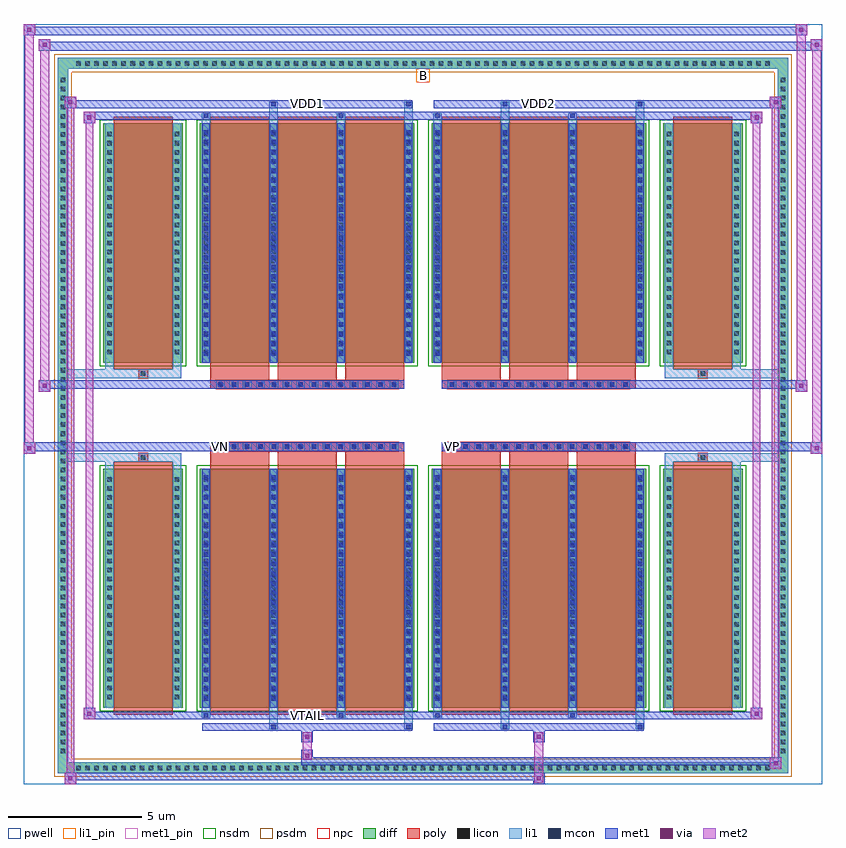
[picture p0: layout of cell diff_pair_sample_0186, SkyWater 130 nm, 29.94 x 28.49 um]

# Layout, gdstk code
import gdstk
lib = gdstk.Library(unit=1e-6, precision=5e-09)
def R(c, l, rs):  # rectangles x0, y0, x1, y1
    for r in rs: c.add(gdstk.rectangle(r[:2], r[2:], *l))
def A(c, l, x, y, w, h, nx, ny, dx, dy):  # array of equal rectangles
    R(c, l, [(x+i*dx, y+j*dy, x+i*dx+w, y+j*dy+h) for i in range(nx) for j in range(ny)])
def P(c, l, *ps):  # polygons
    for p in ps: c.add(gdstk.Polygon(p, *l))
pwell = (64, 44)
diff = (65, 20)
poly = (66, 20)
licon = (66, 44)
li1_pin = (67, 16)
li1 = (67, 20)
mcon = (67, 44)
met1_pin = (68, 16)
met1 = (68, 20)
via = (68, 44)
met2 = (69, 20)
nsdm = (93, 44)
psdm = (94, 20)
npc = (95, 20)

diff_pair_sample_0186 = lib.new_cell('diff_pair_sample_0186')
R(diff_pair_sample_0186, pwell, [(-14.97,-13.81,14.97,14.68), (-12.29,-12,-0.01,-0.8), (0.01,-12,12.29,-0.8), (-12.29,0.8,-0.01,12), (0.01,0.8,12.29,12)])
A(diff_pair_sample_0186, diff, -13.125, -13.41, 0.41, 0.41, 77, 2, 0.34, 26.41)
A(diff_pair_sample_0186, diff, -13.7, -12.785, 0.41, 0.41, 1, 75, 0, 0.34)
A(diff_pair_sample_0186, diff, 13.29, -12.785, 0.41, 0.41, 1, 75, 0, 0.34)
R(diff_pair_sample_0186, diff, [(-13.125,-13.41,13.125,-13), (-13.7,-12.785,-13.29,12.785), (13.29,-12.785,13.7,12.785), (-11.98,-10.955,-9,-1.985), (-8.36,-10.955,-0.32,-1.985), (0.32,-10.955,8.36,-1.985), (9,-10.955,11.98,-1.985), (-11.98,1.985,-9,10.955), (-8.36,1.985,-0.32,10.955), (0.32,1.985,8.36,10.955), (9,1.985,11.98,10.955), (-13.125,13,13.125,13.41)])
P(diff_pair_sample_0186, diff, [(13.7,13.41),(-13.7,13.41),(-13.7,-13),(-13.29,-13),(-13.29,13),(13.29,13),(13.29,-13),(-13.29,-13),(-13.7,-13),(-13.7,-13.41),(13.7,-13.41)])
A(diff_pair_sample_0186, poly, -7.97, -11.205, 2.2, 9.47, 3, 2, 2.53, 12.94)
A(diff_pair_sample_0186, poly, 0.71, -11.205, 2.2, 9.47, 3, 2, 2.53, 12.94)
A(diff_pair_sample_0186, poly, -7.97, -1.735, 2.2, 0.405, 3, 2, 2.53, 3.065)
A(diff_pair_sample_0186, poly, 0.71, -1.735, 2.2, 0.405, 3, 2, 2.53, 3.065)
A(diff_pair_sample_0186, poly, -7.755, -1.33, 0.33, 0.33, 14, 2, 0.5, 2.33)
A(diff_pair_sample_0186, poly, 0.925, -1.33, 0.33, 0.33, 14, 2, 0.5, 2.33)
R(diff_pair_sample_0186, poly, [(-11.59,-11.205,-9.39,-1.735), (9.39,-11.205,11.59,-1.735), (-10.655,-1.735,-10.325,-1.405), (-10.655,-1.735,-10.325,-1.405), (10.325,-1.735,10.655,-1.405), (10.325,-1.735,10.655,-1.405), (-7.97,-1.33,-0.71,-1), (0.71,-1.33,7.97,-1), (-7.97,1,-0.71,1.33), (0.71,1,7.97,1.33), (-10.655,1.405,-10.325,1.735), (-10.655,1.405,-10.325,1.735), (10.325,1.405,10.655,1.735), (10.325,1.405,10.655,1.735), (-11.59,1.735,-9.39,11.205), (9.39,1.735,11.59,11.205)])
A(diff_pair_sample_0186, licon, -13.005, -13.29, 0.17, 0.17, 77, 2, 0.34, 26.41)
A(diff_pair_sample_0186, licon, -13.58, -12.665, 0.17, 0.17, 1, 75, 0, 0.34)
A(diff_pair_sample_0186, licon, 13.41, -12.665, 0.17, 0.17, 1, 75, 0, 0.34)
A(diff_pair_sample_0186, licon, -11.84, -10.635, 0.17, 0.17, 1, 25, 0, 0.34)
A(diff_pair_sample_0186, licon, -9.31, -10.635, 0.17, 0.17, 1, 25, 0, 0.34)
A(diff_pair_sample_0186, licon, -8.22, -10.635, 0.17, 0.17, 4, 25, 2.53, 0.34)
A(diff_pair_sample_0186, licon, 0.46, -10.635, 0.17, 0.17, 4, 25, 2.53, 0.34)
A(diff_pair_sample_0186, licon, 9.14, -10.635, 0.17, 0.17, 1, 25, 0, 0.34)
A(diff_pair_sample_0186, licon, 11.67, -10.635, 0.17, 0.17, 1, 25, 0, 0.34)
A(diff_pair_sample_0186, licon, -7.675, -1.25, 0.17, 0.17, 14, 2, 0.5, 2.33)
A(diff_pair_sample_0186, licon, 1.005, -1.25, 0.17, 0.17, 14, 2, 0.5, 2.33)
A(diff_pair_sample_0186, licon, -11.84, 2.305, 0.17, 0.17, 1, 25, 0, 0.34)
A(diff_pair_sample_0186, licon, -9.31, 2.305, 0.17, 0.17, 1, 25, 0, 0.34)
A(diff_pair_sample_0186, licon, -8.22, 2.305, 0.17, 0.17, 4, 25, 2.53, 0.34)
A(diff_pair_sample_0186, licon, 0.46, 2.305, 0.17, 0.17, 4, 25, 2.53, 0.34)
A(diff_pair_sample_0186, licon, 9.14, 2.305, 0.17, 0.17, 1, 25, 0, 0.34)
A(diff_pair_sample_0186, licon, 11.67, 2.305, 0.17, 0.17, 1, 25, 0, 0.34)
R(diff_pair_sample_0186, licon, [(-10.575,-1.655,-10.405,-1.485), (10.405,-1.655,10.575,-1.485), (-10.575,1.485,-10.405,1.655), (10.405,1.485,10.575,1.655)])
R(diff_pair_sample_0186, li1_pin, [(-0.25,12.5,0.25,13)])
A(diff_pair_sample_0186, li1, -13.085, -13.37, 0.33, 0.33, 77, 2, 0.34, 26.41)
A(diff_pair_sample_0186, li1, -13.66, -12.745, 0.33, 0.33, 1, 75, 0, 0.34)
A(diff_pair_sample_0186, li1, 13.33, -12.745, 0.33, 0.33, 1, 75, 0, 0.34)
A(diff_pair_sample_0186, li1, -8.3, -10.955, 0.33, 8.97, 4, 2, 2.53, 12.94)
A(diff_pair_sample_0186, li1, 0.38, -10.955, 0.33, 8.97, 4, 2, 2.53, 12.94)
A(diff_pair_sample_0186, li1, -11.92, -10.715, 0.33, 0.33, 1, 25, 0, 0.34)
A(diff_pair_sample_0186, li1, -9.39, -10.715, 0.33, 0.33, 1, 25, 0, 0.34)
A(diff_pair_sample_0186, li1, -8.3, -10.715, 0.33, 0.33, 4, 25, 2.53, 0.34)
A(diff_pair_sample_0186, li1, 0.38, -10.715, 0.33, 0.33, 4, 25, 2.53, 0.34)
A(diff_pair_sample_0186, li1, 9.06, -10.715, 0.33, 0.33, 1, 25, 0, 0.34)
A(diff_pair_sample_0186, li1, 11.59, -10.715, 0.33, 0.33, 1, 25, 0, 0.34)
A(diff_pair_sample_0186, li1, -8.22, -10.695, 0.17, 0.17, 4, 24, 2.53, 0.36)
A(diff_pair_sample_0186, li1, -8.22, -10.695, 0.17, 8.45, 4, 2, 2.53, 12.94)
A(diff_pair_sample_0186, li1, 0.46, -10.695, 0.17, 0.17, 4, 24, 2.53, 0.36)
A(diff_pair_sample_0186, li1, 0.46, -10.695, 0.17, 8.45, 4, 2, 2.53, 12.94)
A(diff_pair_sample_0186, li1, -7.755, -1.33, 0.33, 0.33, 14, 2, 0.5, 2.33)
A(diff_pair_sample_0186, li1, 0.925, -1.33, 0.33, 0.33, 14, 2, 0.5, 2.33)
A(diff_pair_sample_0186, li1, -11.92, 2.225, 0.33, 0.33, 1, 25, 0, 0.34)
A(diff_pair_sample_0186, li1, -9.39, 2.225, 0.33, 0.33, 1, 25, 0, 0.34)
A(diff_pair_sample_0186, li1, -8.3, 2.225, 0.33, 0.33, 4, 25, 2.53, 0.34)
A(diff_pair_sample_0186, li1, 0.38, 2.225, 0.33, 0.33, 4, 25, 2.53, 0.34)
A(diff_pair_sample_0186, li1, 9.06, 2.225, 0.33, 0.33, 1, 25, 0, 0.34)
A(diff_pair_sample_0186, li1, 11.59, 2.225, 0.33, 0.33, 1, 25, 0, 0.34)
A(diff_pair_sample_0186, li1, -8.22, 2.245, 0.17, 0.17, 4, 24, 2.53, 0.36)
A(diff_pair_sample_0186, li1, 0.46, 2.245, 0.17, 0.17, 4, 24, 2.53, 0.36)
R(diff_pair_sample_0186, li1, [(-13.7,-13.41,-13.29,-13), (-13.7,-13.41,-13.29,-13), (-13.29,-13.41,13.29,-13), (13.29,-13.41,13.7,-13), (13.29,-13.41,13.7,-13), (-13.7,-13,-13.29,13), (13.29,-13,13.7,13), (-5.77,-11.76,-5.44,-10.955), (-5.69,-11.76,-5.52,-11.59), (-0.71,-11.76,-0.38,-10.955), (-0.63,-11.76,-0.46,-11.59), (2.91,-11.76,3.24,-10.955), (2.99,-11.76,3.16,-11.59), (7.97,-11.76,8.3,-10.955), (8.05,-11.76,8.22,-11.59), (-8.3,-11.33,-7.97,-10.955), (-8.22,-11.33,-8.05,-11.16), (-3.24,-11.33,-2.91,-10.955), (-3.16,-11.33,-2.99,-11.16), (0.38,-11.33,0.71,-10.955), (0.46,-11.33,0.63,-11.16), (5.44,-11.33,5.77,-10.955), (5.52,-11.33,5.69,-11.16), (-11.92,-10.955,-11.59,-1.985), (-9.39,-10.955,-9.06,-1.985), (9.06,-10.955,9.39,-1.985), (11.59,-10.955,11.92,-1.985), (-11.92,-1.985,-11.59,-1.405), (-9.39,-1.985,-9.06,-1.405), (9.06,-1.985,9.39,-1.405), (11.59,-1.985,11.92,-1.405), (-13.7,-1.735,-10.655,-1.405), (-11.92,-1.735,-10.655,-1.405), (-10.655,-1.735,-10.325,-1.405), (-10.325,-1.735,-9.06,-1.405), (9.06,-1.735,10.325,-1.405), (10.325,-1.735,10.655,-1.405), (10.325,-1.735,13.7,-1.405), (10.655,-1.735,11.92,-1.405), (-13.7,1.405,-10.655,1.735), (-11.92,1.405,-10.655,1.735), (-11.92,1.405,-11.59,1.985), (-10.655,1.405,-10.325,1.735), (-10.325,1.405,-9.06,1.735), (-9.39,1.405,-9.06,1.985), (9.06,1.405,10.325,1.735), (9.06,1.405,9.39,1.985), (10.325,1.405,10.655,1.735), (10.325,1.405,13.7,1.735), (10.655,1.405,11.92,1.735), (11.59,1.405,11.92,1.985), (-11.92,1.985,-11.59,10.955), (-9.39,1.985,-9.06,10.955), (9.06,1.985,9.39,10.955), (11.59,1.985,11.92,10.955), (-8.3,10.955,-7.97,11.33), (-5.77,10.955,-5.44,11.76), (-3.24,10.955,-2.91,11.33), (-0.71,10.955,-0.38,11.76), (0.38,10.955,0.71,11.33), (2.91,10.955,3.24,11.76), (5.44,10.955,5.77,11.33), (7.97,10.955,8.3,11.76), (-8.22,11.16,-8.05,11.33), (-3.16,11.16,-2.99,11.33), (0.46,11.16,0.63,11.33), (5.52,11.16,5.69,11.33), (-5.69,11.59,-5.52,11.76), (-0.63,11.59,-0.46,11.76), (2.99,11.59,3.16,11.76), (8.05,11.59,8.22,11.76), (-13.7,13,-13.29,13.41), (-13.7,13,-13.29,13.41), (-13.29,13,13.29,13.41), (13.29,13,13.7,13.41), (13.29,13,13.7,13.41)])
A(diff_pair_sample_0186, mcon, -8.22, -10.695, 0.17, 0.17, 4, 24, 2.53, 0.36)
A(diff_pair_sample_0186, mcon, 0.46, -10.695, 0.17, 0.17, 4, 24, 2.53, 0.36)
A(diff_pair_sample_0186, mcon, -7.675, -1.25, 0.17, 0.17, 14, 2, 0.5, 2.33)
A(diff_pair_sample_0186, mcon, 1.005, -1.25, 0.17, 0.17, 14, 2, 0.5, 2.33)
A(diff_pair_sample_0186, mcon, -8.22, 2.245, 0.17, 0.17, 4, 24, 2.53, 0.36)
A(diff_pair_sample_0186, mcon, 0.46, 2.245, 0.17, 0.17, 4, 24, 2.53, 0.36)
R(diff_pair_sample_0186, mcon, [(-5.69,-11.76,-5.52,-11.59), (-0.63,-11.76,-0.46,-11.59), (2.99,-11.76,3.16,-11.59), (8.05,-11.76,8.22,-11.59), (-8.22,-11.33,-8.05,-11.16), (-3.16,-11.33,-2.99,-11.16), (0.46,-11.33,0.63,-11.16), (5.52,-11.33,5.69,-11.16), (-8.22,11.16,-8.05,11.33), (-3.16,11.16,-2.99,11.33), (0.46,11.16,0.63,11.33), (5.52,11.16,5.69,11.33), (-5.69,11.59,-5.52,11.76), (-0.63,11.59,-0.46,11.76), (2.99,11.59,3.16,11.76), (8.05,11.59,8.22,11.76)])
R(diff_pair_sample_0186, met1_pin, [(-4.475,-11.37,-4.205,-11.1), (-7.725,-1.29,-7.455,-1.02), (0.955,-1.29,1.225,-1.02), (-4.475,11.55,-4.205,11.82), (4.205,11.55,4.475,11.82)])
A(diff_pair_sample_0186, met1, -8.28, -10.955, 0.29, 8.97, 4, 2, 2.53, 12.94)
A(diff_pair_sample_0186, met1, 0.4, -10.955, 0.29, 8.97, 4, 2, 2.53, 12.94)
A(diff_pair_sample_0186, met1, -8.28, -10.755, 0.29, 0.29, 4, 24, 2.53, 0.36)
A(diff_pair_sample_0186, met1, 0.4, -10.755, 0.29, 0.29, 4, 24, 2.53, 0.36)
A(diff_pair_sample_0186, met1, -7.735, -1.31, 0.29, 0.29, 14, 2, 0.5, 2.33)
A(diff_pair_sample_0186, met1, 0.945, -1.31, 0.29, 0.29, 14, 2, 0.5, 2.33)
A(diff_pair_sample_0186, met1, -8.28, 2.185, 0.29, 0.29, 4, 24, 2.53, 0.36)
A(diff_pair_sample_0186, met1, 0.4, 2.185, 0.29, 0.29, 4, 24, 2.53, 0.36)
R(diff_pair_sample_0186, met1, [(-13.43,-13.81,-13,-13.38), (4.125,-13.81,4.555,-13.38), (-13.43,-13.67,4.555,-13.38), (13,-13.24,13.43,-12.81), (-4.555,-13.1,13.43,-12.81), (-4.555,-12.96,-4.125,-12.53), (-4.555,-12.25,-4.125,-11.82), (4.125,-12.25,4.555,-11.82), (-8.28,-11.82,-0.4,-11.53), (-5.75,-11.82,-5.46,-11.53), (-0.69,-11.82,-0.4,-11.53), (0.4,-11.82,8.28,-11.53), (2.93,-11.82,3.22,-11.53), (7.99,-11.82,8.28,-11.53), (-12.72,-11.39,-12.29,-10.96), (-12.72,-11.39,-8.28,-11.1), (-8.28,-11.39,-7.99,-11.1), (-8.28,-11.39,-0.4,-11.1), (-3.22,-11.39,-2.93,-11.1), (-0.4,-11.39,0.4,-11.1), (0.4,-11.39,0.69,-11.1), (0.4,-11.39,8.28,-11.1), (5.46,-11.39,5.75,-11.1), (8.28,-11.39,12.72,-11.1), (12.29,-11.39,12.72,-10.96), (-14.97,-1.43,-14.54,-1), (14.54,-1.43,14.97,-1), (-14.97,-1.33,-0.71,-1), (-7.97,-1.33,-0.71,-1), (0.71,-1.33,7.97,-1), (0.71,-1.33,14.97,-1), (-14.4,0.9,-13.97,1.33), (13.97,0.9,14.4,1.33), (-14.4,1,-7.97,1.33), (-7.97,1,-0.71,1.33), (0.71,1,7.97,1.33), (7.97,1,14.4,1.33), (-12.72,10.96,-12.29,11.39), (12.29,10.96,12.72,11.39), (-12.72,11.1,-8.28,11.39), (-8.28,11.1,-7.99,11.39), (-8.28,11.1,-0.4,11.39), (-3.22,11.1,-2.93,11.39), (-0.4,11.1,0.4,11.39), (0.4,11.1,0.69,11.39), (0.4,11.1,8.28,11.39), (5.46,11.1,5.75,11.39), (8.28,11.1,12.72,11.39), (-13.43,11.53,-13,11.96), (-13.43,11.53,-8.28,11.82), (-8.28,11.53,-0.4,11.82), (-5.75,11.53,-5.46,11.82), (-0.69,11.53,-0.4,11.82), (0.4,11.53,8.28,11.82), (2.93,11.53,3.22,11.82), (7.99,11.53,8.28,11.82), (8.28,11.53,13.43,11.82), (13,11.53,13.43,11.96), (-14.4,13.68,-13.97,14.11), (-14.4,13.68,-12.29,14.01), (-12.29,13.68,12.29,14.01), (12.29,13.68,14.97,14.01), (14.54,13.68,14.97,14.11), (-14.97,14.25,-14.54,14.68), (-14.97,14.25,-12.29,14.58), (-12.29,14.25,12.29,14.58), (12.29,14.25,14.4,14.58), (13.97,14.25,14.4,14.68)])
R(diff_pair_sample_0186, via, [(-13.29,-13.67,-13.14,-13.52), (4.265,-13.67,4.415,-13.52), (13.14,-13.1,13.29,-12.95), (-4.415,-12.82,-4.265,-12.67), (-4.415,-12.11,-4.265,-11.96), (4.265,-12.11,4.415,-11.96), (-12.58,-11.25,-12.43,-11.1), (12.43,-11.25,12.58,-11.1), (-14.83,-1.29,-14.68,-1.14), (14.68,-1.29,14.83,-1.14), (-14.26,1.04,-14.11,1.19), (14.11,1.04,14.26,1.19), (-12.58,11.1,-12.43,11.25), (12.43,11.1,12.58,11.25), (-13.29,11.67,-13.14,11.82), (13.14,11.67,13.29,11.82), (-14.26,13.82,-14.11,13.97), (14.68,13.82,14.83,13.97), (-14.83,14.39,-14.68,14.54), (14.11,14.39,14.26,14.54)])
R(diff_pair_sample_0186, met2, [(-13.43,-13.81,-13,-13.38), (-13.36,-13.81,-13.07,11.96), (-13.07,-13.81,-13,-13.38), (-13.38,-13.76,-13.05,-13.43), (4.175,-13.76,4.505,-13.43), (4.175,-13.43,4.505,-12.2), (13,-13.24,13.43,-12.81), (13.07,-13.24,13.36,11.96), (13.36,-13.24,13.43,-12.81), (13.05,-13.19,13.38,-12.86), (-4.505,-12.91,-4.175,-12.58), (-4.505,-12.58,-4.175,-12.2), (-4.505,-12.2,-4.175,-11.87), (4.175,-12.2,4.505,-11.87), (-12.72,-11.39,-12.29,-10.96), (-12.65,-11.39,-12.36,11.39), (-12.36,-11.39,-12.29,-10.96), (12.29,-11.39,12.72,-10.96), (12.36,-11.39,12.65,11.39), (12.65,-11.39,12.72,-10.96), (-12.67,-11.34,-12.34,-11.01), (12.34,-11.34,12.67,-11.01), (-14.97,-1.43,-14.54,-1), (-14.92,-1.43,-14.59,14.68), (-14.59,-1.43,-14.54,-1), (14.54,-1.43,14.97,-1), (14.59,-1.43,14.92,14.11), (14.92,-1.43,14.97,-1), (-14.92,-1.38,-14.59,-1.05), (14.59,-1.38,14.92,-1.05), (-14.4,0.9,-13.97,1.33), (-14.35,0.9,-14.02,14.11), (-14.02,0.9,-13.97,1.33), (13.97,0.9,14.4,1.33), (14.02,0.9,14.35,14.68), (14.35,0.9,14.4,1.33), (-14.35,0.95,-14.02,1.28), (14.02,0.95,14.35,1.28), (-12.72,10.96,-12.29,11.39), (-12.36,10.96,-12.29,11.39), (12.29,10.96,12.72,11.39), (12.65,10.96,12.72,11.39), (-12.67,11.01,-12.34,11.34), (12.34,11.01,12.67,11.34), (-13.43,11.53,-13,11.96), (-13.07,11.53,-13,11.96), (13,11.53,13.43,11.96), (13.36,11.53,13.43,11.96), (-13.38,11.58,-13.05,11.91), (13.05,11.58,13.38,11.91), (-14.4,13.68,-13.97,14.11), (-14.02,13.68,-13.97,14.11), (14.54,13.68,14.97,14.11), (14.92,13.68,14.97,14.11), (-14.35,13.73,-14.02,14.06), (14.59,13.73,14.92,14.06), (-14.97,14.25,-14.54,14.68), (-14.59,14.25,-14.54,14.68), (13.97,14.25,14.4,14.68), (14.35,14.25,14.4,14.68), (-14.92,14.3,-14.59,14.63), (14.02,14.3,14.35,14.63)])
R(diff_pair_sample_0186, nsdm, [(-12.11,-11.085,-8.87,-1.855), (-8.49,-11.085,-0.19,-1.855), (0.19,-11.085,8.49,-1.855), (8.87,-11.085,12.11,-1.855), (-12.11,1.855,-8.87,11.085), (-8.49,1.855,-0.19,11.085), (0.19,1.855,8.49,11.085), (8.87,1.855,12.11,11.085)])
P(diff_pair_sample_0186, psdm, [(13.83,13.54),(-13.83,13.54),(-13.83,-12.87),(-13.16,-12.87),(-13.16,12.87),(13.16,12.87),(13.16,-12.87),(-13.16,-12.87),(-13.83,-12.87),(-13.83,-13.54),(13.83,-13.54)])
A(diff_pair_sample_0186, npc, -7.775, -1.35, 0.37, 0.37, 14, 2, 0.5, 2.33)
A(diff_pair_sample_0186, npc, 0.905, -1.35, 0.37, 0.37, 14, 2, 0.5, 2.33)
R(diff_pair_sample_0186, npc, [(-10.675,-1.755,-10.305,-1.385), (10.305,-1.755,10.675,-1.385), (-7.775,-1.35,-6.905,-0.98), (-7.775,-1.35,-6.905,-0.98), (-7.275,-1.35,-6.405,-0.98), (-7.275,-1.35,-6.405,-0.98), (-6.775,-1.35,-5.905,-0.98), (-6.775,-1.35,-5.905,-0.98), (-6.275,-1.35,-5.405,-0.98), (-6.275,-1.35,-5.405,-0.98), (-5.775,-1.35,-4.905,-0.98), (-5.775,-1.35,-4.905,-0.98), (-5.275,-1.35,-4.405,-0.98), (-5.275,-1.35,-4.405,-0.98), (-4.775,-1.35,-3.905,-0.98), (-4.775,-1.35,-3.905,-0.98), (-4.275,-1.35,-3.405,-0.98), (-4.275,-1.35,-3.405,-0.98), (-3.775,-1.35,-2.905,-0.98), (-3.775,-1.35,-2.905,-0.98), (-3.275,-1.35,-2.405,-0.98), (-3.275,-1.35,-2.405,-0.98), (-2.775,-1.35,-1.905,-0.98), (-2.775,-1.35,-1.905,-0.98), (-2.275,-1.35,-1.405,-0.98), (-2.275,-1.35,-1.405,-0.98), (-1.775,-1.35,-0.905,-0.98), (-1.775,-1.35,-0.905,-0.98), (0.905,-1.35,1.775,-0.98), (0.905,-1.35,1.775,-0.98), (1.405,-1.35,2.275,-0.98), (1.405,-1.35,2.275,-0.98), (1.905,-1.35,2.775,-0.98), (1.905,-1.35,2.775,-0.98), (2.405,-1.35,3.275,-0.98), (2.405,-1.35,3.275,-0.98), (2.905,-1.35,3.775,-0.98), (2.905,-1.35,3.775,-0.98), (3.405,-1.35,4.275,-0.98), (3.405,-1.35,4.275,-0.98), (3.905,-1.35,4.775,-0.98), (3.905,-1.35,4.775,-0.98), (4.405,-1.35,5.275,-0.98), (4.405,-1.35,5.275,-0.98), (4.905,-1.35,5.775,-0.98), (4.905,-1.35,5.775,-0.98), (5.405,-1.35,6.275,-0.98), (5.405,-1.35,6.275,-0.98), (5.905,-1.35,6.775,-0.98), (5.905,-1.35,6.775,-0.98), (6.405,-1.35,7.275,-0.98), (6.405,-1.35,7.275,-0.98), (6.905,-1.35,7.775,-0.98), (6.905,-1.35,7.775,-0.98), (-7.775,0.98,-6.905,1.35), (-7.775,0.98,-6.905,1.35), (-7.275,0.98,-6.405,1.35), (-7.275,0.98,-6.405,1.35), (-6.775,0.98,-5.905,1.35), (-6.775,0.98,-5.905,1.35), (-6.275,0.98,-5.405,1.35), (-6.275,0.98,-5.405,1.35), (-5.775,0.98,-4.905,1.35), (-5.775,0.98,-4.905,1.35), (-5.275,0.98,-4.405,1.35), (-5.275,0.98,-4.405,1.35), (-4.775,0.98,-3.905,1.35), (-4.775,0.98,-3.905,1.35), (-4.275,0.98,-3.405,1.35), (-4.275,0.98,-3.405,1.35), (-3.775,0.98,-2.905,1.35), (-3.775,0.98,-2.905,1.35), (-3.275,0.98,-2.405,1.35), (-3.275,0.98,-2.405,1.35), (-2.775,0.98,-1.905,1.35), (-2.775,0.98,-1.905,1.35), (-2.275,0.98,-1.405,1.35), (-2.275,0.98,-1.405,1.35), (-1.775,0.98,-0.905,1.35), (-1.775,0.98,-0.905,1.35), (0.905,0.98,1.775,1.35), (0.905,0.98,1.775,1.35), (1.405,0.98,2.275,1.35), (1.405,0.98,2.275,1.35), (1.905,0.98,2.775,1.35), (1.905,0.98,2.775,1.35), (2.405,0.98,3.275,1.35), (2.405,0.98,3.275,1.35), (2.905,0.98,3.775,1.35), (2.905,0.98,3.775,1.35), (3.405,0.98,4.275,1.35), (3.405,0.98,4.275,1.35), (3.905,0.98,4.775,1.35), (3.905,0.98,4.775,1.35), (4.405,0.98,5.275,1.35), (4.405,0.98,5.275,1.35), (4.905,0.98,5.775,1.35), (4.905,0.98,5.775,1.35), (5.405,0.98,6.275,1.35), (5.405,0.98,6.275,1.35), (5.905,0.98,6.775,1.35), (5.905,0.98,6.775,1.35), (6.405,0.98,7.275,1.35), (6.405,0.98,7.275,1.35), (6.905,0.98,7.775,1.35), (6.905,0.98,7.775,1.35), (-10.675,1.385,-10.305,1.755), (10.305,1.385,10.675,1.755)])
diff_pair_sample_0186.add(gdstk.Label('VTAIL', (-4.34,-11.235), layer=68, texttype=5))
diff_pair_sample_0186.add(gdstk.Label('VN', (-7.59,-1.155), layer=68, texttype=5))
diff_pair_sample_0186.add(gdstk.Label('VP', (1.09,-1.155), layer=68, texttype=5))
diff_pair_sample_0186.add(gdstk.Label('B', (0,12.75), layer=67, texttype=5))
diff_pair_sample_0186.add(gdstk.Label('VDD2', (4.34,11.685), layer=68, texttype=5))
diff_pair_sample_0186.add(gdstk.Label('VDD1', (-4.34,11.685), layer=68, texttype=5))

lib.write_gds('diff_pair_sample_0186.gds')
